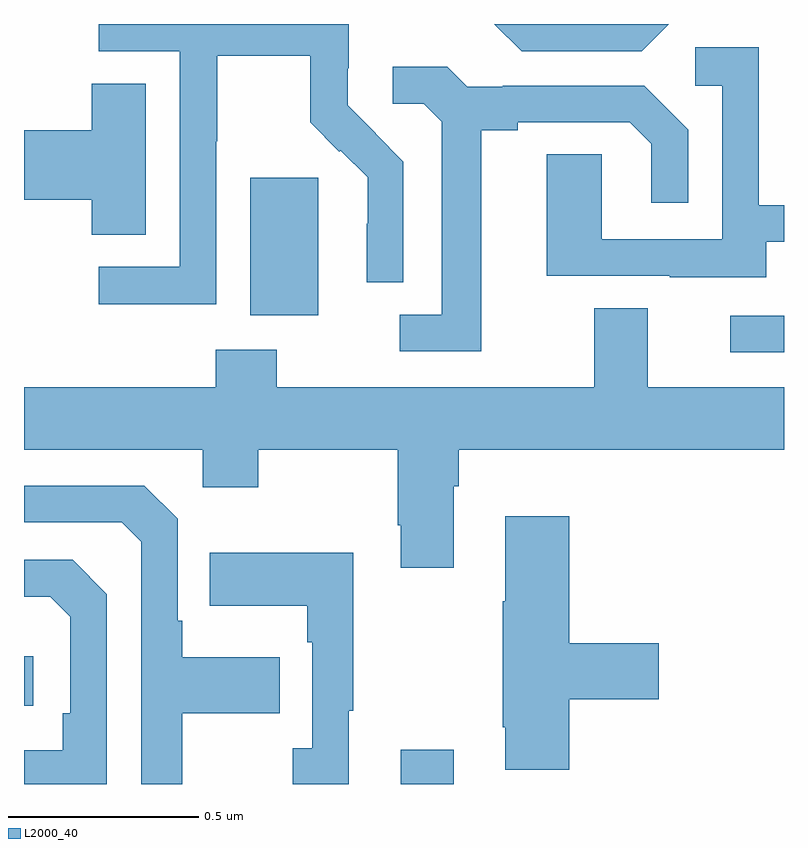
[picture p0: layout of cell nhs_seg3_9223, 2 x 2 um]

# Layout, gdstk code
import gdstk
lib = gdstk.Library(unit=1e-6, precision=1e-09)
def R(c, l, rs):  # rectangles x0, y0, x1, y1
    for r in rs: c.add(gdstk.rectangle(r[:2], r[2:], *l))
def P(c, l, *ps):  # polygons
    for p in ps: c.add(gdstk.Polygon(p, *l))
L2000_40 = (2000, 40)

nhs_seg3_9223 = lib.new_cell('nhs_seg3_9223')
R(nhs_seg3_9223, L2000_40, [(226.991,669.4,227.131,669.49), (226,669.606,226.024,669.736), (227.859,670.536,228,670.632), (226.595,670.634,226.774,670.995)])
P(nhs_seg3_9223, L2000_40, [(226.506,671.092),(226.509,671.092),(226.509,671.316),(226.753,671.316),(226.753,671.141),(226.83,671.064),(226.833,671.067),(226.904,670.997),(226.904,670.874),(226.902,670.874),(226.902,670.72),(226.998,670.72),(226.998,671.038),(226.925,671.111),(226.926,671.112),(226.852,671.186),(226.852,671.283),(226.854,671.283),(226.854,671.4),(226.197,671.4),(226.197,671.328),(226.41,671.328),(226.41,670.761),(226.197,670.761),(226.197,670.663),(226.506,670.663)],
  [(227.697,671.4),(227.238,671.4),(227.31,671.328),(227.625,671.328)],
  [(227.953,670.827),(228,670.827),(228,670.923),(227.934,670.923),(227.934,671.339),(227.766,671.339),(227.766,671.238),(227.838,671.238),(227.838,670.833),(227.52,670.833),(227.52,671.057),(227.375,671.057),(227.375,670.737),(227.699,670.737),(227.699,670.733),(227.953,670.733)],
  [(227.203,671.12),(227.299,671.12),(227.299,671.142),(227.594,671.142),(227.651,671.085),(227.651,670.929),(227.748,670.929),(227.748,671.122),(227.632,671.238),(227.26,671.238),(227.26,671.235),(227.166,671.235),(227.114,671.287),(226.971,671.287),(226.971,671.19),(227.052,671.19),(227.099,671.143),(227.099,670.635),(226.989,670.635),(226.989,670.539),(227.203,670.539)],
  [(226.321,671.243),(226.178,671.243),(226.178,671.12),(226,671.12),(226,670.937),(226.178,670.937),(226.178,670.846),(226.321,670.846)],
  [(227.131,670.184),(227.144,670.184),(227.144,670.28),(228,670.28),(228,670.444),(227.641,670.444),(227.641,670.652),(227.501,670.652),(227.501,670.444),(226.665,670.444),(226.665,670.543),(226.505,670.543),(226.505,670.444),(226,670.444),(226,670.28),(226.47,670.28),(226.47,670.181),(226.617,670.181),(226.617,670.28),(226.984,670.28),(226.984,670.081),(226.991,670.081),(226.991,669.969),(227.131,669.969)],
  [(226.417,669.586),(226.673,669.586),(226.673,669.733),(226.417,669.733),(226.417,669.829),(226.404,669.829),(226.404,670.098),(226.317,670.185),(226,670.185),(226,670.089),(226.257,670.089),(226.308,670.038),(226.308,669.4),(226.417,669.4)],
  [(227.435,669.623),(227.671,669.623),(227.671,669.77),(227.435,669.77),(227.435,670.105),(227.267,670.105),(227.267,669.881),(227.26,669.881),(227.26,669.55),(227.267,669.55),(227.267,669.438),(227.435,669.438)],
  [(226.855,669.593),(226.867,669.593),(226.867,670.009),(226.489,670.009),(226.489,669.869),(226.746,669.869),(226.746,669.773),(226.758,669.773),(226.758,669.494),(226.707,669.494),(226.707,669.4),(226.855,669.4)],
  [(226.218,669.9),(226.128,669.99),(226,669.99),(226,669.893),(226.069,669.893),(226.122,669.84),(226.122,669.586),(226.102,669.586),(226.102,669.489),(226,669.489),(226,669.4),(226.218,669.4)])

lib.write_gds('nhs_seg3_9223.gds')
